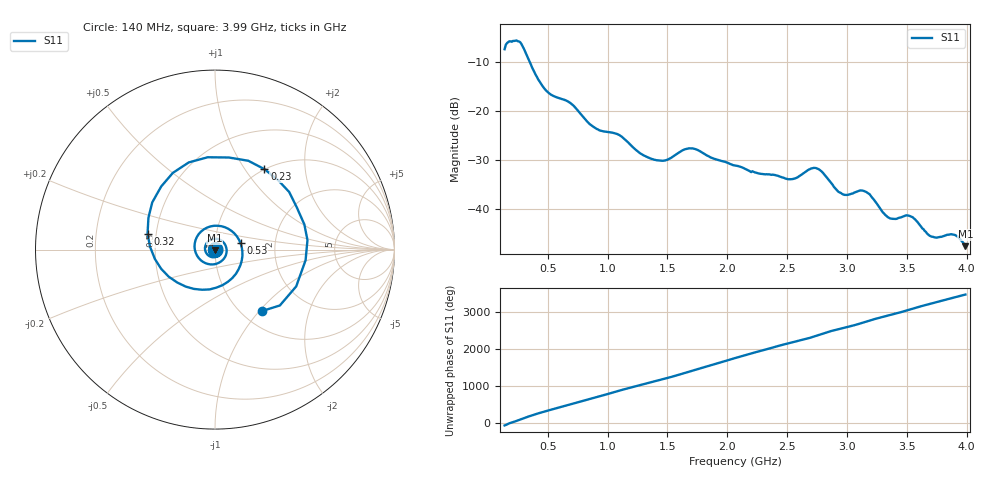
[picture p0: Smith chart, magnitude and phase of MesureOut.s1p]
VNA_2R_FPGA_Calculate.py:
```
# this file used accumulate method

import time
import threading
import struct

import numpy as np
import pylab as pl
import math
import skrf
from skrf import Network, Frequency
from scipy import signal
from VNACalibrate import Cal_Display
from VNADataRequest import  VNA_DEV as VNA
#  22.5527dbm.  3V 50R 对应的功率
DBM_3V = 13.523
vna = VNA()

###****************##########
fs = 24  # 采样频率
N = 4080  # 采样点数
N_HALF = 1200  #
DISPLAY_MODE = 0  # 1 wave, 0 spectrum
CALIBRATION_MODE = True
df = fs / (N - 1)  # 分辨率

def PrintMstime():
    t = time.time()
    return int(round(t * 1000))  # 毫秒级时间戳


def PrintSkrfFile(Mage, Vphs, FreqStart, FreqRate, FileName):
    MesureList = ['# MHz S MA R 50.0\n']
    File = open(FileName, 'w')
    File.write(MesureList[0])
    for size in range(len(Mage)):
        MesureList.append('%.4f   %.8f   %.4f \n' % (((FreqStart + FreqRate * size), Mage[size], Vphs[size])))
        File.write(MesureList[size + 1])
    File.closed

##计算幅度和相位, 并转换到360度
def CalImagePhase(I_ACC_Value,Q_ACC_Value):
    print('I_ACC: %3.6f , Q_ACC: %3.6f ' % (I_ACC_Value, Q_ACC_Value))
    Phase= math.atan(Q_ACC_Value / I_ACC_Value)
    Image = np.abs(I_ACC_Value * 2 / math.cos(Phase) / N / 0x20000)
    #Image = math.sqrt( math.pow(I_ACC_Value/ N / 0x20000,2) + math.pow(Q_ACC_Value/ N / 0x20000,2) )
    PhaseInDegree = Phase / math.pi * 180

    if (Q_ACC_Value >= 0 and I_ACC_Value >= 0):
        targetPhase = PhaseInDegree
    elif (Q_ACC_Value >= 0 and I_ACC_Value < 0):
        targetPhase = 180 + PhaseInDegree
    elif (Q_ACC_Value < 0 and I_ACC_Value >= 0):
        targetPhase = 360 + PhaseInDegree
    else:
        targetPhase = 180 + PhaseInDegree
    return Image ,targetPhase #

def VNASampling(FileName, ApplayCalibration):

    WAVE_Yticks = np.arange(-1, 1.2, 0.2)

    FrequencyStart = 140
    FrequencyEnd =4000
    FreqSwepStep = 10
    PWRlevelReset = 38
    RangSweep = []
    AbsYSweepForward = []
    AbsYSweepReflect = []
    SkImage = []

    PahseSweepForward = []
    PahseForward = 0
    ImageForwardDB = 0
    PahseSweepReflect = []
    Frequency = FrequencyStart
    PWRlevel = PWRlevelReset
    vna.SetRF_PWRlevel(PWRlevel)  # set RF output level bit[5:0]
    vna.SetSamplingCKL(0)  # set sampling clock, first Byte H4


    while True:
        #time.sleep(0.01)
        if (Frequency >= FrequencyEnd):  # 显示RL 的曲线

            if (len(AbsYSweepForward) == int((FrequencyEnd - FrequencyStart) / FreqSwepStep)):
                pl.clf()  # 清楚画布上的内容
                pl.plot(RangSweep, AbsYSweepForward)  # fist scan
                pl.plot(RangSweep, AbsYSweepReflect)
                pl.title('S11 RL(dB)')
                pl.ylabel('dB')
                pl.xlabel('Frequency (MHz)')
                pl.yticks(np.arange(-60, 20, 10))
                pl.grid(axis='y', linestyle='--')
                pl.show()
                AbsYSweep = []

                pl.clf()  # 清楚画布上的内容
                # pl.plot(RangSweep,PahseSweepForward)#显示相位信息

                # SubPhase = np.subtract(np.array(PahseSweepReflect),np.array(PahseSweepForward))
                pl.plot(RangSweep, PahseSweepReflect)
                pl.title('S11 RP(°)')
                pl.xlabel('Frequency (MHz)')
                pl.ylabel('°')
                pl.yticks(np.arange(-180, 200, 30))
                pl.show()

                # 创建skrf 文件
                PrintSkrfFile(SkImage, PahseSweepReflect, FrequencyStart, FreqSwepStep,FileName)
                '''
                ring_slot = Network('MesureOut.s1p')
                print(ring_slot)

                ring_slot.plot_s_db() # 幅度曲线
                pl.show()
                ring_slot.plot_s_deg()#相位曲线
                pl.show()

                ring_slot.plot_s_smith()#史密斯圆
                pl.show()
                '''

                ## run, and apply calibration to a DUT and display
                if ApplayCalibration is True:
                    Cal_Display(FileName)
                else:
                    break
            else:
                pl.show()
            Frequency = FrequencyStart
            PWRlevel = PWRlevelReset
            AbsYSweepForward = []
            AbsYSweepReflect = []
            PahseSweepForward = []
            PahseSweepReflect = []
            RangSweep = []
            SkImage = []
            vna.SetRF_PWRlevel(PWRlevel)


        vna.SetRF_LO_FRQ(Frequency)
        time.sleep(0.01)


        vna.StartSamp()


        XCosValue = []
        # startMs = PrintMstime()


        while vna.SerialPort.inWaiting() == 0:
            pass
        byte = vna.SerialPort.read(16)

        IF_I_ACC_F = struct.unpack('<i', byte[0:4])[0]
        IF_Q_ACC_F =  struct.unpack('<i', byte[4:8])[0]
        IF_I_ACC_R = struct.unpack('<i', byte[8:12])[0]
        IF_Q_ACC_R = struct.unpack('<i', byte[12:16])[0]
        if (IF_I_ACC_F != 0):

            # I_Q = np.multiply(np.array(LoSinValue),np.array( LoCosValue))

            Image_F , PahseForward = CalImagePhase(IF_I_ACC_F, IF_Q_ACC_F)
            Image_R , PhaseReflect = CalImagePhase(IF_I_ACC_R, IF_Q_ACC_R)

            print("%d MHz "%Frequency,"Image_F= ", Image_F,"Image_R= ", Image_R, "\n")
            absY_F = 20 * math.log10(Image_F)  # 求傅里叶变换结果的模.  DBM_3V 3v对应的功率
            absY_R = 20 * math.log10(Image_R)

            if (DISPLAY_MODE == 1):

                pl.clf()  # 清楚画布上的内容
                n = 0
                for n in range(N_HALF):
                    if (XCosValue[n] < 0.05 and XCosValue[n] >= 0 and XCosValue[n + 1] > XCosValue[n]):
                        break
                pl.plot(XCosValue[n:n + 100])
                pl.title('WaveDisplay %d MHZ ' % Frequency + " RL(dB)= %3.2f" % absY_F)
                pl.yticks(WAVE_Yticks)
                pl.xlabel('Time (ns)')
                pl.pause(0.08)
            ''''// end if  '''

            #print('%d MHZ  %3.5f  %3.5f\n' % (Frequency, PhasePosition, targetPhase))

            AbsYSweepForward.append(absY_F)  # 幅度in dB
            PahseSweepForward.append(PahseForward)  # 相位

            AbsYSweepReflect.append(absY_R)
            SubPha = PhaseReflect - PahseForward
            if (SubPha < 0):
                   SubPha = 360 + SubPha
            if (SubPha > 180):
                    SubPha = (SubPha - 180) - 180
            SkImage.append(Image_R)  # skrf 幅度
            PahseSweepReflect.append(SubPha)
            RangSweep.append(Frequency)

            Frequency = Frequency + FreqSwepStep
              #time.sleep(0.05)
'''
            if(absY_F > -14.5 and  PWRlevel > 0):
                PWRlevel = PWRlevel - 1
                vna.SetRF_PWRlevel(PWRlevel)
                continue

            elif(absY_F < -15.5 and PWRlevel < 63):
                PWRlevel = PWRlevel + 1
                vna.SetRF_PWRlevel(PWRlevel)
                continue
'''
            # print(time.time())
            # print(time.strftime('%Y-%m-%d %H:%M:%S', time.localtime(time.time())))
if __name__ == '__main__':
    #display and applay calibration
    VNASampling('MesureOut.s1p',True)
```
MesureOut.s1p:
# MHz S MA R 50.0
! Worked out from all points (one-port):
!   386 points, 140 MHz to 3.99 GHz, reference 50 ohm
!   lowest |S11| = -47.7 dB at 3.99 GHz (marker M1), VSWR 1.01, Z = 49.8 - j0.362 ohm
!   |S11| at or under -10 dB: 351.1 MHz to end of sweep
!   S11 on the Smith chart (normalised r, x): 140 MHz: 1.22, -1.03; 230 MHz: 1.00, +1.24; 320 MHz: 0.45, +0.09; 530 MHz: 1.33, +0.10; 3.99 GHz: 1.00, -0.01
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140  0.4301 -52.9
180  0.5179 5.9
230  0.5261 58.4
270  0.5073 106.7
320  0.3861 166.8
400  0.2348 -107.7
530  0.1466 14.0
700  0.1181 162.9
900  0.0668 -18.3
1430  0.0312 88.3
1700  0.04155 -21.6
2510  0.02003 4.4
2710  0.02594 171.4
3990  0.004136 -118.6
